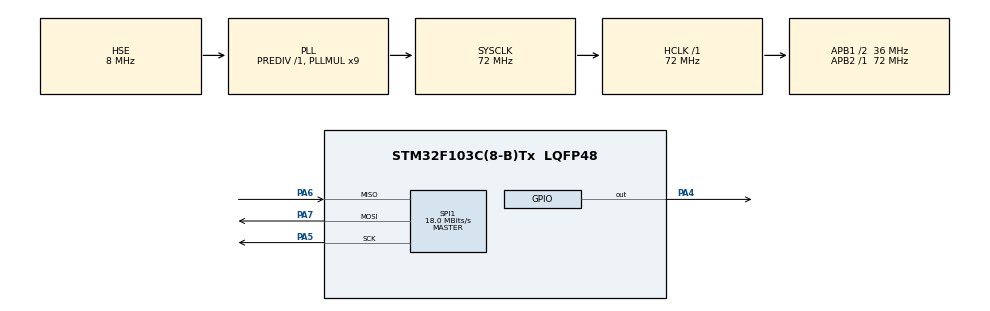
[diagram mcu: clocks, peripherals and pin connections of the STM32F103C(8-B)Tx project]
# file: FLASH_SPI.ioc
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Mcu.Family=STM32F1
Mcu.Name=STM32F103C(8-B)Tx
Mcu.Package=LQFP48
NVIC.PriorityGroup=NVIC_PRIORITYGROUP_4
PA13.Mode=Serial_Wire
PA13.Signal=SYS_JTMS-SWDIO
PA14.Mode=Serial_Wire
PA14.Signal=SYS_JTCK-SWCLK
PA4.GPIO_Speed=GPIO_SPEED_FREQ_HIGH
PA4.PinState=GPIO_PIN_SET
PA4.Signal=GPIO_Output
PA5.Mode=Full_Duplex_Master
PA5.Signal=SPI1_SCK
PA6.Mode=Full_Duplex_Master
PA6.Signal=SPI1_MISO
PA7.Mode=Full_Duplex_Master
PA7.Signal=SPI1_MOSI
PD0-OSC_IN.Mode=HSE-External-Oscillator
PD0-OSC_IN.Signal=RCC_OSC_IN
PD1-OSC_OUT.Mode=HSE-External-Oscillator
PD1-OSC_OUT.Signal=RCC_OSC_OUT
ProjectManager.HeapSize=0x200
ProjectManager.StackSize=0x400
ProjectManager.TargetToolchain=CMake
RCC.AHBFreq_Value=72000000
RCC.APB1CLKDivider=RCC_HCLK_DIV2
RCC.APB1Freq_Value=36000000
RCC.APB1TimFreq_Value=72000000
RCC.APB2Freq_Value=72000000
RCC.APB2TimFreq_Value=72000000
RCC.HCLKFreq_Value=72000000
RCC.PLLMUL=RCC_PLL_MUL9
RCC.PLLSourceVirtual=RCC_PLLSOURCE_HSE
RCC.SYSCLKFreq_VALUE=72000000
RCC.SYSCLKSource=RCC_SYSCLKSOURCE_PLLCLK
RCC.USBFreq_Value=72000000
SPI1.BaudRatePrescaler=SPI_BAUDRATEPRESCALER_4
SPI1.CLKPhase=SPI_PHASE_2EDGE
SPI1.CLKPolarity=SPI_POLARITY_HIGH
SPI1.CalculateBaudRate=18.0 MBits/s
SPI1.Direction=SPI_DIRECTION_2LINES
SPI1.Mode=SPI_MODE_MASTER
SPI1.VirtualType=VM_MASTER
board=custom

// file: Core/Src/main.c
/* USER CODE BEGIN Header */
/**
  ******************************************************************************
  * @file           : main.c
  * @brief          : Main program body
  ******************************************************************************
  * @attention
  *
  * Copyright (c) 2025 STMicroelectronics.
  * All rights reserved.
  *
  * This software is licensed under terms that can be found in the LICENSE file
  * in the root directory of this software component.
  * If no LICENSE file comes with this software, it is provided AS-IS.
  *
  ******************************************************************************
  */
/* USER CODE END Header */
#include "main.h"
#include "spi.h"
#include "gpio.h"

/* USER CODE BEGIN Includes */
#include "flash.h"
#include "stm32f1xx_hal.h"
#include "stm32f1xx_hal_gpio.h"
#include <string.h>
/* USER CODE END Includes */

/* USER CODE BEGIN PD */
#define FLASH_TEST_ADDRESS       0x00000000UL
#define FLASH_TEST_LENGTH        64U
/* USER CODE END PD */

/* USER CODE BEGIN PV */
static uint8_t flash_tx_buffer[FLASH_TEST_LENGTH];
static uint8_t flash_rx_buffer[FLASH_TEST_LENGTH];
volatile uint8_t flash_test_passed = 0U;
/* USER CODE END PV */

void SystemClock_Config(void);
/* USER CODE BEGIN PFP */
static void Flash_RunTest(void);
/* USER CODE END PFP */

int main(void)
{

  /* MCU Configuration--------------------------------------------------------*/

  /* Reset of all peripherals, Initializes the Flash interface and the Systick. */
  HAL_Init();

  /* Configure the system clock */
  SystemClock_Config();

  /* Initialize all configured peripherals */
  MX_GPIO_Init();
  MX_SPI1_Init();
  /* USER CODE BEGIN 2 */
  Flash_Init();
  Flash_RunTest();
  /* USER CODE END 2 */

  /* Infinite loop */
  while (1)
  {

    /* USER CODE BEGIN 3 */
    HAL_Delay(500);
  }
  /* USER CODE END 3 */
}

void SystemClock_Config(void)
{
  RCC_OscInitTypeDef RCC_OscInitStruct = {0};
  RCC_ClkInitTypeDef RCC_ClkInitStruct = {0};

  /** Initializes the RCC Oscillators according to the specified parameters
  * in the RCC_OscInitTypeDef structure.
  */
  RCC_OscInitStruct.OscillatorType = RCC_OSCILLATORTYPE_HSE;
  RCC_OscInitStruct.HSEState = RCC_HSE_ON;
  RCC_OscInitStruct.HSEPredivValue = RCC_HSE_PREDIV_DIV1;
  RCC_OscInitStruct.HSIState = RCC_HSI_ON;
  RCC_OscInitStruct.PLL.PLLState = RCC_PLL_ON;
  RCC_OscInitStruct.PLL.PLLSource = RCC_PLLSOURCE_HSE;
  RCC_OscInitStruct.PLL.PLLMUL = RCC_PLL_MUL9;
  if (HAL_RCC_OscConfig(&RCC_OscInitStruct) != HAL_OK)
  {
    Error_Handler();
  }

  /** Initializes the CPU, AHB and APB buses clocks
  */
  RCC_ClkInitStruct.ClockType = RCC_CLOCKTYPE_HCLK|RCC_CLOCKTYPE_SYSCLK
                              |RCC_CLOCKTYPE_PCLK1|RCC_CLOCKTYPE_PCLK2;
  RCC_ClkInitStruct.SYSCLKSource = RCC_SYSCLKSOURCE_PLLCLK;
  RCC_ClkInitStruct.AHBCLKDivider = RCC_SYSCLK_DIV1;
  RCC_ClkInitStruct.APB1CLKDivider = RCC_HCLK_DIV2;
  RCC_ClkInitStruct.APB2CLKDivider = RCC_HCLK_DIV1;

  if (HAL_RCC_ClockConfig(&RCC_ClkInitStruct, FLASH_LATENCY_2) != HAL_OK)
  {
    Error_Handler();
  }
}

/* USER CODE BEGIN 4 */
static void Flash_RunTest(void)
{
  for (uint32_t i = 0; i < FLASH_TEST_LENGTH; ++i)
  {
    flash_tx_buffer[i] = (uint8_t)(i * 37U + 11U);
  }

  if (Flash_EraseSector(FLASH_TEST_ADDRESS) != HAL_OK)
  {
    Error_Handler();
  }

  if (Flash_Write(FLASH_TEST_ADDRESS, flash_tx_buffer, FLASH_TEST_LENGTH) != HAL_OK)
  {
    Error_Handler();
  }

  if (Flash_Read(FLASH_TEST_ADDRESS, flash_rx_buffer, FLASH_TEST_LENGTH) != HAL_OK)
  {
    Error_Handler();
  }

  if (memcmp(flash_tx_buffer, flash_rx_buffer, FLASH_TEST_LENGTH) == 0)
  {
    flash_test_passed = 1U;
  }
  else
  {
    flash_test_passed = 0U;
    Error_Handler();
  }
}
/* USER CODE END 4 */

void Error_Handler(void)
{
  __disable_irq();
  while (1)
  {
  }
}
